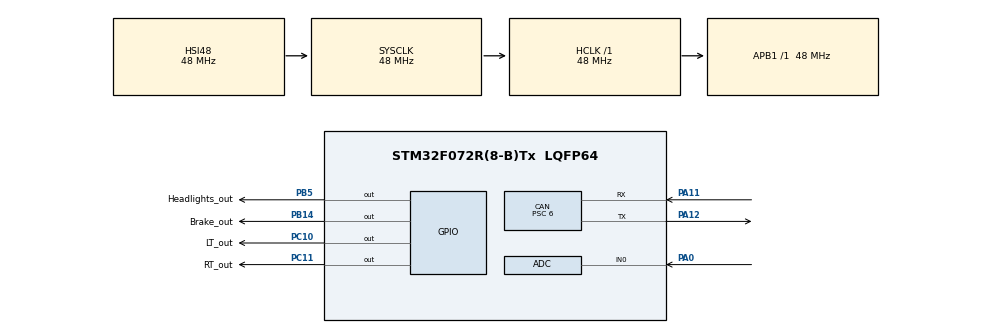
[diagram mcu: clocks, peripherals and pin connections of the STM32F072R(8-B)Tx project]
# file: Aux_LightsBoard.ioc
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ADC.ClockPrescaler=ADC_CLOCK_SYNC_PCLK_DIV4
ADC.ContinuousConvMode=DISABLE
ADC.DMAContinuousRequests=DISABLE
ADC.ExternalTrigConv=ADC_SOFTWARE_START
ADC.Resolution=ADC_RESOLUTION_6B
ADC.SamplingTime=ADC_SAMPLETIME_71CYCLES_5
CAN.AWUM=ENABLE
CAN.BS1=CAN_BS1_13TQ
CAN.BS2=CAN_BS2_2TQ
CAN.CalculateBaudRate=500000
CAN.CalculateTimeBit=2000.00
CAN.CalculateTimeQuantum=125.0
CAN.Prescaler=6
Mcu.Family=STM32F0
Mcu.Name=STM32F072R(8-B)Tx
Mcu.Package=LQFP64
NVIC.ADC1_COMP_IRQn=true\:0\:0\:false\:false\:true\:true\:true
NVIC.CEC_CAN_IRQn=true\:0\:0\:false\:false\:true\:true\:true
NVIC.TIM2_IRQn=true\:0\:0\:false\:false\:true\:true\:true
NVIC.TIM3_IRQn=true\:0\:0\:false\:false\:true\:true\:true
PA0.Mode=IN0
PA0.Signal=ADC_IN0
PA11.Mode=CAN_Activate
PA11.Signal=CAN_RX
PA12.Mode=CAN_Activate
PA12.Signal=CAN_TX
PA13.Mode=Serial_Wire
PA13.Signal=SYS_SWDIO
PA14.Mode=Serial_Wire
PA14.Signal=SYS_SWCLK
PB14.GPIO_Label=Brake_out
PB14.Signal=GPIO_Output
PB5.GPIO_Label=Headlights_out
PB5.Signal=GPIO_Output
PC10.GPIO_Label=LT_out
PC10.Signal=GPIO_Output
PC11.GPIO_Label=RT_out
PC11.Signal=GPIO_Output
ProjectManager.HeapSize=0x200
ProjectManager.StackSize=0x400
ProjectManager.TargetToolchain=STM32CubeIDE
RCC.AHBFreq_Value=48000000
RCC.APB1Freq_Value=48000000
RCC.APB1TimFreq_Value=48000000
RCC.HCLKFreq_Value=48000000
RCC.SYSCLKFreq_VALUE=48000000
RCC.SYSCLKSource=RCC_SYSCLKSOURCE_HSI48
TIM2.Period=26000
TIM2.Prescaler=1024
TIM3.Period=100
TIM3.Prescaler=48000
VP_ADC_Vref_Input.Mode=IN-Vrefint
VP_TIM2_VS_ClockSourceINT.Mode=Internal
VP_TIM3_VS_ClockSourceINT.Mode=Internal
board=custom

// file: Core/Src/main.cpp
/* USER CODE BEGIN Header */
/**
  ******************************************************************************
  * @file           : main.c
  * @brief          : Main program body
  ******************************************************************************
  * @attention
  *
  * <h2><center>&copy; Copyright (c) 2021 STMicroelectronics.
  * All rights reserved.</center></h2>
  *
  * This software component is licensed by ST under BSD 3-Clause license,
  * the "License"; You may not use this file except in compliance with the
  * License. You may obtain a copy of the License at:
  *                        opensource.org/licenses/BSD-3-Clause
  *
  ******************************************************************************
  */
/* USER CODE END Header */
#include "main.h"

/* USER CODE BEGIN Includes */
#define hazardsBm 0x01
#define hazardsBp 0
#define headlightsBm 0x02
#define headlightsBp 1
#define leftBm 0x04
#define leftBp 2
#define rightBm 0x08
#define rightBp 3
#define cplusBm 0x10
#define cplusBp 4
#define cminusBm 0x20
#define cminusBp 5
#define hornBm 0x40
#define hornBp 6
#define regenBm 0x80
#define regenBp 7
/* USER CODE END Includes */

CAN_HandleTypeDef hcan;

TIM_HandleTypeDef htim2;
TIM_HandleTypeDef htim3;

ADC_HandleTypeDef hadc;
DMA_HandleTypeDef hdma_adc;

/* USER CODE BEGIN PV */
CAN_TxHeaderTypeDef pHeader;
CAN_RxHeaderTypeDef pRxHeader;
uint32_t TxMailbox;
uint8_t outData = 0x00;
uint8_t inData = 0x00;

CAN_FilterTypeDef sFilterConfig;
uint8_t canFlag = 0x00;

uint8_t hazardsOn = 0x00;
uint8_t headlightsOn = 0x00;
uint8_t leftOn = 0x00;
uint8_t rightOn = 0x00;
uint8_t timerRunning = 0x00;
uint8_t mechBrakesOn = 0x00;
uint8_t regenOn = 0x00;
uint32_t value_adc;
//uint32_t *resultRegister = &ADC_DR_DATA;
/* USER CODE END PV */

void SystemClock_Config(void);
static void MX_GPIO_Init(void);
static void MX_CAN_Init(void);
static void MX_TIM2_Init(void);
static void MX_ADC_Init(void);
static void MX_TIM3_Init(void);
/* USER CODE BEGIN PFP */
void CAN_init(void);
/* USER CODE END PFP */

/* USER CODE BEGIN 0 */
void HAL_ADC_ConvCpltCallback(ADC_HandleTypeDef* hadc2) {

	value_adc = HAL_ADC_GetValue(&hadc);

}

void CAN_init(void) {

	// configure the outgoing message
	pHeader.DLC = 1;
	  pHeader.IDE = CAN_ID_STD;
	  pHeader.RTR = CAN_RTR_DATA;

	// this is the Aux team's CAN ID
	  pHeader.StdId = 0x3FF;

//	  pRxHeader.DLC = 1;
//	  	  pRxHeader.IDE = CAN_ID_STD;
//	  	  pRxHeader.RTR = CAN_RTR_DATA;
//	  	pRxHeader.StdId = 0x3FF;

	  sFilterConfig.FilterFIFOAssignment=CAN_FILTER_FIFO0;

	  // The CAN filter is set to only receive from CAN messages of identifier 0x3FF, or 1023.
	  // This is the auxiliary CAN identifier for Sunbreaker.
	  sFilterConfig.FilterIdHigh=0;
	  sFilterConfig.FilterIdLow=0x3FF;
	  sFilterConfig.FilterMaskIdHigh=0x0;
	  sFilterConfig.FilterMaskIdLow=0x0;
	  sFilterConfig.FilterScale=CAN_FILTERSCALE_32BIT;
	  sFilterConfig.FilterMode = CAN_FILTERMODE_IDMASK;
	  sFilterConfig.FilterActivation=ENABLE;
	  HAL_CAN_ConfigFilter(&hcan, &sFilterConfig);

	  HAL_CAN_Start(&hcan);
	  HAL_CAN_ActivateNotification(&hcan, CAN_IT_RX_FIFO0_MSG_PENDING);
}

//void HAL_CAN_RxFifo0MsgPendingCallback(CAN_HandleTypeDef *hcan) {
//  /* Prevent unused argument(s) compilation warning */
//	HAL_CAN_GetRxMessage(hcan, CAN_RX_FIFO0, &pRxHeader, inData2);
//	canFlag = 0x01;
//
//  /* NOTE : This function Should not be modified, when the callback is needed,
//            the HAL_CAN_RxFifo0MsgPendingCallback could be implemented in the
//            user file
//   */
//}

//For timer interrupt
void HAL_TIM_PeriodElapsedCallback(TIM_HandleTypeDef *htim){

	if (htim == &htim2) {

		// turn signal timer, timer 2
		if (hazardsOn) {

			// hazards
			HAL_GPIO_TogglePin(LT_out_GPIO_Port, LT_out_Pin);
			HAL_GPIO_TogglePin(RT_out_GPIO_Port, RT_out_Pin);

		} else if (leftOn) {

			// left turn
			HAL_GPIO_TogglePin(LT_out_GPIO_Port, LT_out_Pin);

		} else if (rightOn) {

			// right turn
			HAL_GPIO_TogglePin(RT_out_GPIO_Port, RT_out_Pin);

		}

	} else {

		HAL_ADC_Start_IT(&hadc);

	}

}
/* USER CODE END 0 */

int main(void)
{

  /* MCU Configuration--------------------------------------------------------*/

  /* Reset of all peripherals, Initializes the Flash interface and the Systick. */
  HAL_Init();

  /* Configure the system clock */
  SystemClock_Config();

  /* USER CODE BEGIN SysInit */
  CAN_init();
  /* USER CODE END SysInit */

  /* Initialize all configured peripherals */
  MX_GPIO_Init();
	//MX_DMA_Init();
	MX_CAN_Init();
	MX_TIM2_Init();
	MX_ADC_Init();
	MX_TIM3_Init();
  /* USER CODE BEGIN 2 */

  // clear all outputs at startup
  HAL_GPIO_WritePin(RT_out_GPIO_Port, RT_out_Pin, GPIO_PIN_RESET);
  HAL_GPIO_WritePin(LT_out_GPIO_Port, LT_out_Pin, GPIO_PIN_RESET);
  HAL_GPIO_WritePin(Headlights_out_GPIO_Port, Headlights_out_Pin, GPIO_PIN_RESET);
  HAL_GPIO_WritePin(Brake_out_GPIO_Port, Brake_out_Pin, GPIO_PIN_RESET);

  // start timer 3
  HAL_TIM_Base_Start_IT(&htim3);

  // link DMA
  //HAL_ADC_Start_DMA(&hadc, (uint32_t*)&value_adc,10);

  /* USER CODE END 2 */

  /* Infinite loop */
  /* USER CODE BEGIN WHILE */
  while (1)
  {

	  // trigger ADC
	  //HAL_ADC_Start(&hadc);
	  //HAL_ADC_PollForConversion(&hadc, HAL_MAX_DELAY);
	  //raw = HAL_ADC_GetValue(&hadc);
	  // polling
	  // while (!HAL_CAN_GetRxFifoFillLevel(&hcan, CAN_RX_FIFO0));

	  // read the ADC value from brake sensor
	  if (value_adc >= 20) {

		  mechBrakesOn = 0x01;
		  HAL_GPIO_WritePin(Brake_out_GPIO_Port, Brake_out_Pin, GPIO_PIN_SET);

	  } else {

		  mechBrakesOn = 0x00;

	  }

	  if (canFlag) {

		  // clear the flag
		  canFlag = 0x00;

		  // update variables
		  hazardsOn = inData & hazardsBm;
		  headlightsOn = inData & headlightsBm;
		  leftOn = inData & leftBm;
		  rightOn = inData & rightBm;
		  regenOn = inData & regenBm;

		  // turn on the brake lights if regen braking is enabled
		  if (regenOn) {

			  HAL_GPIO_WritePin(Brake_out_GPIO_Port, Brake_out_Pin, GPIO_PIN_SET);

		  }

		  if (hazardsOn) {

			  // check to see if the timer is running
			  if (!timerRunning) {

				  // clear turn signals
				  HAL_GPIO_WritePin(RT_out_GPIO_Port, RT_out_Pin, GPIO_PIN_RESET);
				  HAL_GPIO_WritePin(LT_out_GPIO_Port, LT_out_Pin, GPIO_PIN_RESET);

				  timerRunning = 0x01;
				  // start the timer
				  HAL_TIM_Base_Start_IT(&htim2);

			  }

		  } else if (leftOn | rightOn) {

			  if (!timerRunning) {

				  // clear turn signals
				  HAL_GPIO_WritePin(RT_out_GPIO_Port, RT_out_Pin, GPIO_PIN_RESET);
				  HAL_GPIO_WritePin(LT_out_GPIO_Port, LT_out_Pin, GPIO_PIN_RESET);

				  timerRunning = 0x01;
				  // start the timer
				  HAL_TIM_Base_Start_IT(&htim2);

			  }

		  } else {

			  // stop the timer
			  HAL_TIM_Base_Stop_IT(&htim2);
			  timerRunning = 0x00;

			  // clear turn signals
			  HAL_GPIO_WritePin(RT_out_GPIO_Port, RT_out_Pin, GPIO_PIN_RESET);
			  HAL_GPIO_WritePin(LT_out_GPIO_Port, LT_out_Pin, GPIO_PIN_RESET);

		  }

		  // update headlights
		  if (headlightsOn) {

			  HAL_GPIO_WritePin(Headlights_out_GPIO_Port, Headlights_out_Pin, GPIO_PIN_SET);

		  } else {

			  HAL_GPIO_WritePin(Headlights_out_GPIO_Port, Headlights_out_Pin, GPIO_PIN_RESET);

		  }

	  }

	  // check to see if brakes are released
	  if (!mechBrakesOn && !regenOn) {

		  HAL_GPIO_WritePin(Brake_out_GPIO_Port, Brake_out_Pin, GPIO_PIN_RESET);

	  }
    /* USER CODE END WHILE */

  }
}

void SystemClock_Config(void)
{
  RCC_OscInitTypeDef RCC_OscInitStruct = {0};
  RCC_ClkInitTypeDef RCC_ClkInitStruct = {0};

  /** Initializes the RCC Oscillators according to the specified parameters
  * in the RCC_OscInitTypeDef structure.
  */
  RCC_OscInitStruct.OscillatorType = RCC_OSCILLATORTYPE_HSI48;
  RCC_OscInitStruct.HSI48State = RCC_HSI48_ON;
  RCC_OscInitStruct.PLL.PLLState = RCC_PLL_NONE;
  if (HAL_RCC_OscConfig(&RCC_OscInitStruct) != HAL_OK)
  {
    Error_Handler();
  }
  /** Initializes the CPU, AHB and APB buses clocks
  */
  RCC_ClkInitStruct.ClockType = RCC_CLOCKTYPE_HCLK|RCC_CLOCKTYPE_SYSCLK
                              |RCC_CLOCKTYPE_PCLK1;
  RCC_ClkInitStruct.SYSCLKSource = RCC_SYSCLKSOURCE_HSI48;
  RCC_ClkInitStruct.AHBCLKDivider = RCC_SYSCLK_DIV1;
  RCC_ClkInitStruct.APB1CLKDivider = RCC_HCLK_DIV1;

  if (HAL_RCC_ClockConfig(&RCC_ClkInitStruct, FLASH_LATENCY_1) != HAL_OK)
  {
    Error_Handler();
  }
}

static void MX_ADC_Init(void)
{

  ADC_ChannelConfTypeDef sConfig = {0};

  /** Configure the global features of the ADC (Clock, Resolution, Data Alignment and number of conversion)
  */
  hadc.Instance = ADC1;
  hadc.Init.ClockPrescaler = ADC_CLOCK_SYNC_PCLK_DIV4;
  hadc.Init.Resolution = ADC_RESOLUTION_6B;
  hadc.Init.DataAlign = ADC_DATAALIGN_RIGHT;
  hadc.Init.ScanConvMode = ADC_SCAN_DIRECTION_FORWARD;
  hadc.Init.EOCSelection = ADC_EOC_SINGLE_CONV;
  hadc.Init.LowPowerAutoWait = DISABLE;
  hadc.Init.LowPowerAutoPowerOff = DISABLE;
  hadc.Init.ContinuousConvMode = DISABLE;
  hadc.Init.DiscontinuousConvMode = DISABLE;
  hadc.Init.ExternalTrigConv = ADC_SOFTWARE_START;
  hadc.Init.ExternalTrigConvEdge = ADC_EXTERNALTRIGCONVEDGE_NONE;
  hadc.Init.DMAContinuousRequests = DISABLE;
  hadc.Init.Overrun = ADC_OVR_DATA_PRESERVED;
  if (HAL_ADC_Init(&hadc) != HAL_OK)
  {
    Error_Handler();
  }
  /** Configure for the selected ADC regular channel to be converted.
  */
  sConfig.Channel = ADC_CHANNEL_0;
  sConfig.Rank = ADC_RANK_CHANNEL_NUMBER;
  sConfig.SamplingTime = ADC_SAMPLETIME_71CYCLES_5;
  if (HAL_ADC_ConfigChannel(&hadc, &sConfig) != HAL_OK)
  {
    Error_Handler();
  }
  /** Configure for the selected ADC regular channel to be converted.
  */
  sConfig.Channel = ADC_CHANNEL_VREFINT;
  if (HAL_ADC_ConfigChannel(&hadc, &sConfig) != HAL_OK)
  {
    Error_Handler();
  }

}

static void MX_CAN_Init(void)
{

  hcan.Instance = CAN;
  hcan.Init.Prescaler = 6;
  hcan.Init.Mode = CAN_MODE_NORMAL;
  hcan.Init.SyncJumpWidth = CAN_SJW_1TQ;
  hcan.Init.TimeSeg1 = CAN_BS1_13TQ;
  hcan.Init.TimeSeg2 = CAN_BS2_2TQ;
  hcan.Init.TimeTriggeredMode = DISABLE;
  hcan.Init.AutoBusOff = DISABLE;
  hcan.Init.AutoWakeUp = ENABLE;
  hcan.Init.AutoRetransmission = DISABLE;
  hcan.Init.ReceiveFifoLocked = DISABLE;
  hcan.Init.TransmitFifoPriority = DISABLE;
  if (HAL_CAN_Init(&hcan) != HAL_OK)
  {
    Error_Handler();
  }

}

static void MX_TIM2_Init(void)
{

  TIM_ClockConfigTypeDef sClockSourceConfig = {0};
  TIM_MasterConfigTypeDef sMasterConfig = {0};

  htim2.Instance = TIM2;
  htim2.Init.Prescaler = 1024;
  htim2.Init.CounterMode = TIM_COUNTERMODE_UP;
  htim2.Init.Period = 26000;
  htim2.Init.ClockDivision = TIM_CLOCKDIVISION_DIV1;
  htim2.Init.AutoReloadPreload = TIM_AUTORELOAD_PRELOAD_DISABLE;
  if (HAL_TIM_Base_Init(&htim2) != HAL_OK)
  {
    Error_Handler();
  }
  sClockSourceConfig.ClockSource = TIM_CLOCKSOURCE_INTERNAL;
  if (HAL_TIM_ConfigClockSource(&htim2, &sClockSourceConfig) != HAL_OK)
  {
    Error_Handler();
  }
  sMasterConfig.MasterOutputTrigger = TIM_TRGO_RESET;
  sMasterConfig.MasterSlaveMode = TIM_MASTERSLAVEMODE_DISABLE;
  if (HAL_TIMEx_MasterConfigSynchronization(&htim2, &sMasterConfig) != HAL_OK)
  {
    Error_Handler();
  }

}

static void MX_TIM3_Init(void)
{

  TIM_ClockConfigTypeDef sClockSourceConfig = {0};
  TIM_MasterConfigTypeDef sMasterConfig = {0};

  htim3.Instance = TIM3;
  htim3.Init.Prescaler = 48000;
  htim3.Init.CounterMode = TIM_COUNTERMODE_UP;
  htim3.Init.Period = 100;
  htim3.Init.ClockDivision = TIM_CLOCKDIVISION_DIV1;
  htim3.Init.AutoReloadPreload = TIM_AUTORELOAD_PRELOAD_DISABLE;
  if (HAL_TIM_Base_Init(&htim3) != HAL_OK)
  {
    Error_Handler();
  }
  sClockSourceConfig.ClockSource = TIM_CLOCKSOURCE_INTERNAL;
  if (HAL_TIM_ConfigClockSource(&htim3, &sClockSourceConfig) != HAL_OK)
  {
    Error_Handler();
  }
  sMasterConfig.MasterOutputTrigger = TIM_TRGO_RESET;
  sMasterConfig.MasterSlaveMode = TIM_MASTERSLAVEMODE_DISABLE;
  if (HAL_TIMEx_MasterConfigSynchronization(&htim3, &sMasterConfig) != HAL_OK)
  {
    Error_Handler();
  }

}

static void MX_GPIO_Init(void)
{
  GPIO_InitTypeDef GPIO_InitStruct = {0};

  /* GPIO Ports Clock Enable */
  __HAL_RCC_GPIOA_CLK_ENABLE();
  __HAL_RCC_GPIOB_CLK_ENABLE();
  __HAL_RCC_GPIOC_CLK_ENABLE();

  /*Configure GPIO pin Output Level */
  HAL_GPIO_WritePin(GPIOB, Brake_out_Pin|Headlights_out_Pin, GPIO_PIN_RESET);

  /*Configure GPIO pin Output Level */
  HAL_GPIO_WritePin(GPIOC, LT_out_Pin|RT_out_Pin, GPIO_PIN_RESET);

  /*Configure GPIO pins : Brake_out_Pin Headlights_out_Pin */
  GPIO_InitStruct.Pin = Brake_out_Pin|Headlights_out_Pin;
  GPIO_InitStruct.Mode = GPIO_MODE_OUTPUT_PP;
  GPIO_InitStruct.Pull = GPIO_NOPULL;
  GPIO_InitStruct.Speed = GPIO_SPEED_FREQ_LOW;
  HAL_GPIO_Init(GPIOB, &GPIO_InitStruct);

  /*Configure GPIO pins : LT_out_Pin RT_out_Pin */
  GPIO_InitStruct.Pin = LT_out_Pin|RT_out_Pin;
  GPIO_InitStruct.Mode = GPIO_MODE_OUTPUT_PP;
  GPIO_InitStruct.Pull = GPIO_NOPULL;
  GPIO_InitStruct.Speed = GPIO_SPEED_FREQ_LOW;
  HAL_GPIO_Init(GPIOC, &GPIO_InitStruct);

}

void Error_Handler(void)
{
  __disable_irq();
  while (1)
  {
  }
}

/************************ (C) COPYRIGHT STMicroelectronics *****END OF FILE****/
